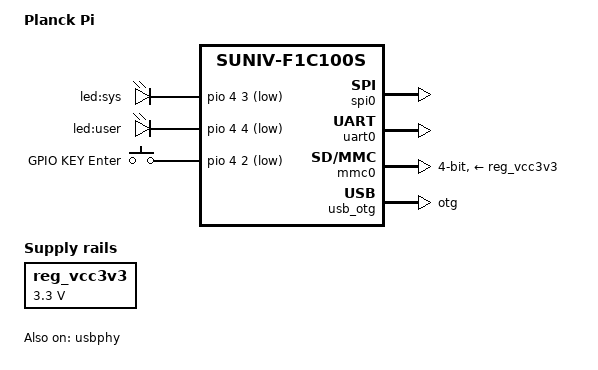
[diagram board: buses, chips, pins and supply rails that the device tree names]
// SPDX-License-Identifier: (GPL-2.0+ OR X11)

/dts-v1/;
#include "suniv-f1c100s.dtsi"
#include <dt-bindings/gpio/gpio.h>
#include <dt-bindings/input/input.h>

/ {
	model = "Planck Pi";
	compatible = "allwinner,suniv-f1c200s",
			 "allwinner,suniv-f1c100s";

	aliases {
		mmc0 = &mmc0;
		serial0 = &uart0;
	};

	chosen {
		stdout-path = "serial0:115200n8";
	};

	reg_vcc3v3: vcc3v3 {
		compatible = "regulator-fixed";
		regulator-name = "vcc3v3";
		regulator-min-microvolt = <3300000>;
		regulator-max-microvolt = <3300000>;
	};

	leds {
		compatible = "gpio-leds";
		status = "okay";

		sys_led {
			label = "led:sys";
			gpios = <&pio 4 3 GPIO_ACTIVE_LOW>; /* PE3 */
			default-state = "on";
		};

		user_led {
			label = "led:user";
			gpios = <&pio 4 4 GPIO_ACTIVE_LOW>; /* PE4 */
		};
	};

	gpio-keys {
		compatible = "gpio-keys";
		autorepeat;
		status = "okay";

		key {
			label = "GPIO KEY Enter";
			linux,code = <KEY_ENTER>;
			gpios = <&pio 4 2 GPIO_ACTIVE_LOW>; /* PE2 */
		};
	};
};

&spi0 {
	status = "okay";
};

&uart0 {
	pinctrl-names = "default";
	pinctrl-0 = <&uart0_pe_pins>;
	status = "okay";
};

&mmc0 {
	broken-cd;
	bus-width = <4>;
	disable-wp;
	status = "okay";
	vmmc-supply = <&reg_vcc3v3>;
};

&otg_sram {
	status = "okay";
};

&usb_otg {
	dr_mode = "otg"; /* host device */
	status = "okay";
};

&usbphy {
	status = "okay";
	usb0_id_det-gpios = <&pio 4 5 (GPIO_ACTIVE_HIGH | GPIO_PULL_UP)>; /* PE5 */
};

&i2c0 {
	status = "disabled";
};

